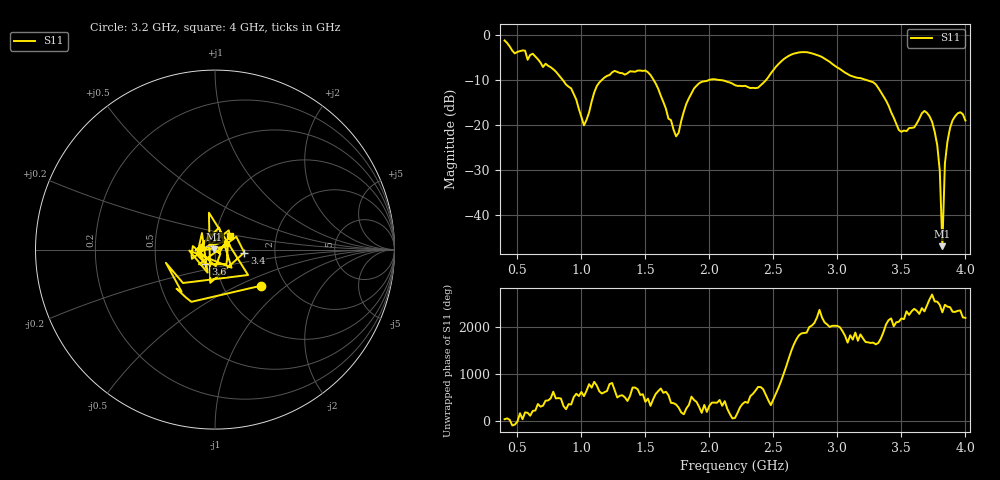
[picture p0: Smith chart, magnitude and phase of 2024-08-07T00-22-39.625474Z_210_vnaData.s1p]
!Created with skrf (http://scikit-rf.org).
# Hz S RI R 50.0
!freq ReS11 ImS11
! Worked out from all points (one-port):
!   181 points, 400 MHz to 4 GHz, reference 50 ohm
!   lowest |S11| = -47.0 dB at 3.82 GHz (marker M1), VSWR 1.01, Z = 49.6 + j0.145 ohm
!   |S11| at or under -10 dB: 1.565 GHz to 1.994 GHz (429.3 MHz wide, 24.1 % of centre); 2.086 GHz to 2.442 GHz (356.1 MHz wide, 15.7 % of centre); 3.228 GHz to end of sweep (the widest 3 of 4)
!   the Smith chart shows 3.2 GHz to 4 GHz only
!   S11 on the Smith chart (normalised r, x): 3.2 GHz: 1.50, -0.68; 3.4 GHz: 1.39, -0.05; 3.6 GHz: 0.89, -0.14; 4 GHz: 1.17, +0.18
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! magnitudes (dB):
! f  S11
! 400 MHz  -1.2
! 860 MHz  -10.2
! 940 MHz  -13.1
! 1.02 GHz  -20.1
! 1.12 GHz  -11.3
! 1.3 GHz  -8.4
! 1.52 GHz  -8.3
! 1.74 GHz  -22.5
! 1.76 GHz  -21.7
! 1.82 GHz  -15.3
! 1.92 GHz  -10.7
! 2.2 GHz  -11.1
! 2.38 GHz  -11.7
! 2.66 GHz  -4.1
! 3.1 GHz  -9.0
! 3.2 GHz  -9.7
! 3.4 GHz  -15.7
! 3.48 GHz  -21.1
! 3.56 GHz  -20.7
! 3.6 GHz  -20.5
! 3.68 GHz  -16.9
! 3.76 GHz  -21.5
! 3.8 GHz  -30.2
! 3.82 GHz  -47.0
! 3.84 GHz  -28.5
! 3.86 GHz  -23.7
! 3.92 GHz  -18.1
! 4 GHz  -19.0
